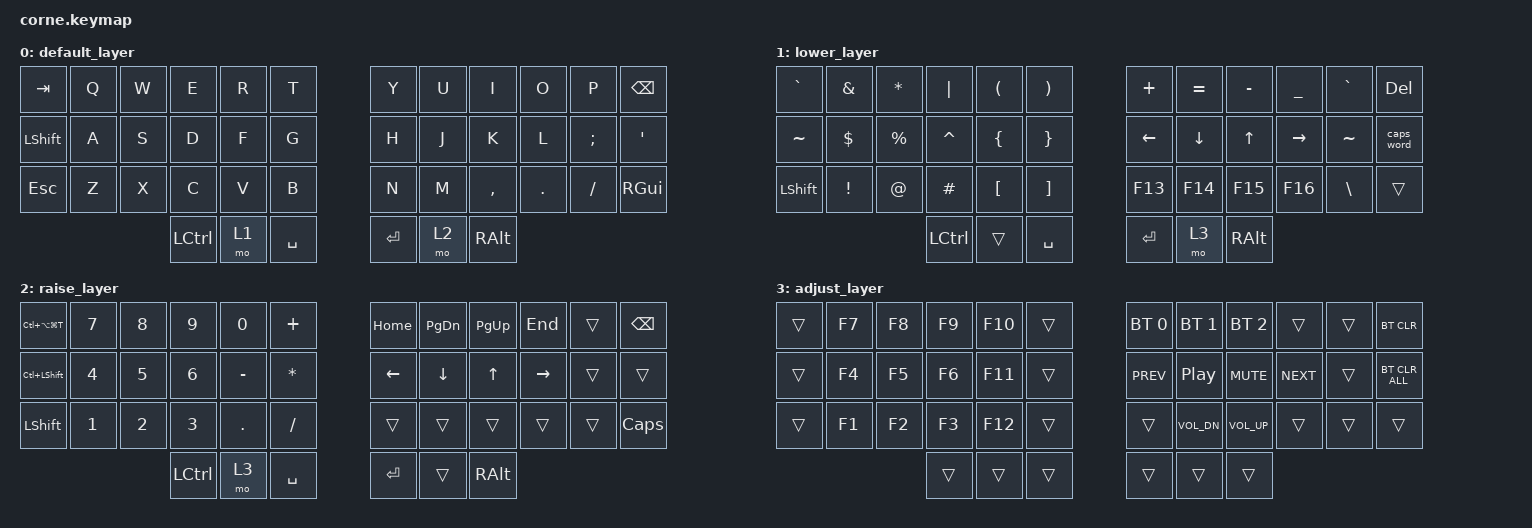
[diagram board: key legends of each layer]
#include <behaviors.dtsi>
#include <dt-bindings/zmk/bt.h>
#include <dt-bindings/zmk/keys.h>

/ {
    behaviors {
        caps_word: caps_word {
            compatible = "zmk,behavior-caps-word";
            label = "CAPS_WORD";
            #binding-cells = <0>;
            continue-list = <UNDERSCORE MINUS>;
        };

        ht: ht {
            compatible = "zmk,behavior-hold-tap";
            label = "HT";
            bindings = <&mo>, <&kp>;

            #binding-cells = <2>;
            tapping-term-ms = <200>;
            quick-tap-ms = <125>;
            retro-tap;
        };
    };

    combos {
        compatible = "zmk,combos";

        esc {
            bindings = <&kp ESC>;
            key-positions = <19 20>;
            timeout-ms = <50>;
            layers = <0>;
        };
    };

    keymap {
        compatible = "zmk,keymap";

        default_layer {
            bindings = <
&kp TAB     &kp Q  &kp W  &kp E      &kp R  &kp T        &kp Y    &kp U  &kp I      &kp O    &kp P     &kp BSPC
&kp LSHIFT  &kp A  &kp S  &kp D      &kp F  &kp G        &kp H    &kp J  &kp K      &kp L    &kp SEMI  &kp SQT
&kp ESC     &kp Z  &kp X  &kp C      &kp V  &kp B        &kp N    &kp M  &kp COMMA  &kp DOT  &kp FSLH  &kp RIGHT_GUI
                          &kp LCTRL  &mo 1  &kp SPACE    &kp RET  &mo 2  &kp RALT
            >;
        };

        lower_layer {
            bindings = <
&kp GRAVE  &kp AMPS  &kp ASTRK    &kp PIPE   &kp LPAR  &kp RPAR     &kp PLUS  &kp EQUAL  &kp MINUS  &kp UNDER  &kp GRAVE      &kp DELETE
&kp TILDE  &kp DLLR  &kp PERCENT  &kp CARET  &kp LBRC  &kp RBRC     &kp LEFT  &kp DOWN   &kp UP     &kp RIGHT  &kp TILDE      &caps_word
&kp LSHFT  &kp EXCL  &kp AT       &kp HASH   &kp LBKT  &kp RBKT     &kp F13   &kp F14    &kp F15    &kp F16    &kp BACKSLASH  &trans
                                  &kp LCTRL  &trans    &kp SPACE    &kp RET   &mo 3      &kp RALT
            >;
        };

        raise_layer {
            bindings = <
&kp LC(LA(LG(T)))  &kp N7        &kp N8        &kp N9        &kp N0     &kp PLUS     &kp HOME  &kp PAGE_DOWN  &kp PAGE_UP  &kp END    &trans  &kp BSPC
&kp LC(LSHFT)      &kp NUMBER_4  &kp N5        &kp NUMBER_6  &kp MINUS  &kp ASTRK    &kp LEFT  &kp DOWN       &kp UP       &kp RIGHT  &trans  &trans
&kp LSHFT          &kp NUMBER_1  &kp NUMBER_2  &kp NUMBER_3  &kp DOT    &kp FSLH     &trans    &trans         &trans       &trans     &trans  &kp CAPS
                                               &kp LCTRL     &mo 3      &kp SPACE    &kp RET   &trans         &kp RALT
            >;
        };

        adjust_layer {
            bindings = <
&trans  &kp F7  &kp F8  &kp F9  &kp F10  &trans    &bt BT_SEL 0  &bt BT_SEL 1      &bt BT_SEL 2     &trans      &trans  &bt BT_CLR
&trans  &kp F4  &kp F5  &kp F6  &kp F11  &trans    &kp C_PREV    &kp C_PLAY_PAUSE  &kp C_MUTE       &kp C_NEXT  &trans  &bt BT_CLR_ALL
&trans  &kp F1  &kp F2  &kp F3  &kp F12  &trans    &trans        &kp C_VOL_DN      &kp C_VOLUME_UP  &trans      &trans  &trans
                        &trans  &trans   &trans    &trans        &trans            &trans
            >;
        };
    };
};
